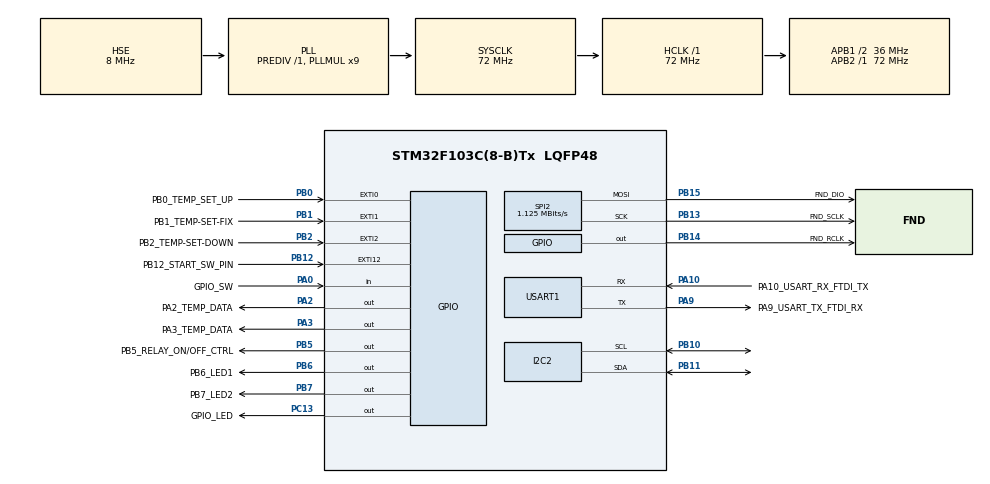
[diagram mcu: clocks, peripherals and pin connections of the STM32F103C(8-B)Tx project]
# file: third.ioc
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I2C2.I2C_Mode=I2C_Fast
Mcu.Family=STM32F1
Mcu.Name=STM32F103C(8-B)Tx
Mcu.Package=LQFP48
NVIC.EXTI0_IRQn=true\:9\:0\:true\:false\:true\:true\:true\:true
NVIC.EXTI15_10_IRQn=true\:9\:0\:true\:false\:true\:true\:true\:true
NVIC.EXTI1_IRQn=true\:9\:0\:true\:false\:true\:true\:true\:true
NVIC.EXTI2_IRQn=true\:9\:0\:true\:false\:true\:true\:true\:true
NVIC.PriorityGroup=NVIC_PRIORITYGROUP_4
NVIC.TIM2_IRQn=true\:0\:0\:false\:false\:true\:true\:true\:true
NVIC.TIM3_IRQn=true\:10\:0\:true\:false\:true\:true\:true\:true
PA0-WKUP.GPIO_Label=GPIO_SW
PA0-WKUP.GPIO_PuPd=GPIO_PULLUP
PA0-WKUP.Signal=GPIO_Input
PA10.GPIO_Label=PA10_USART_RX_FTDI_TX
PA10.Mode=Asynchronous
PA10.Signal=USART1_RX
PA13.Mode=Serial_Wire
PA13.Signal=SYS_JTMS-SWDIO
PA14.Mode=Serial_Wire
PA14.Signal=SYS_JTCK-SWCLK
PA2.GPIO_Label=PA2_TEMP_DATA
PA2.GPIO_ModeDefaultOutputPP=GPIO_MODE_OUTPUT_PP
PA2.GPIO_PuPd=GPIO_PULLUP
PA2.GPIO_Speed=GPIO_SPEED_FREQ_HIGH
PA2.PinState=GPIO_PIN_SET
PA2.Signal=GPIO_Output
PA3.GPIO_Label=PA3_TEMP_DATA
PA3.GPIO_PuPd=GPIO_PULLUP
PA3.GPIO_Speed=GPIO_SPEED_FREQ_HIGH
PA3.PinState=GPIO_PIN_SET
PA3.Signal=GPIO_Output
PA9.GPIO_Label=PA9_USART_TX_FTDI_RX
PA9.Mode=Asynchronous
PA9.Signal=USART1_TX
PB0.GPIO_Label=PB0_TEMP_SET_UP
PB0.GPIO_ModeDefaultEXTI=GPIO_MODE_IT_FALLING
PB0.Signal=GPXTI0
PB1.GPIO_Label=PB1_TEMP-SET-FIX
PB1.GPIO_ModeDefaultEXTI=GPIO_MODE_IT_FALLING
PB1.GPIO_PuPd=GPIO_PULLUP
PB1.Signal=GPXTI1
PB10.Mode=I2C
PB10.Signal=I2C2_SCL
PB11.Mode=I2C
PB11.Signal=I2C2_SDA
PB12.GPIO_Label=PB12_START_SW_PIN
PB12.GPIO_ModeDefaultEXTI=GPIO_MODE_IT_FALLING
PB12.GPIO_PuPd=GPIO_PULLUP
PB12.Signal=GPXTI12
PB13.GPIO_Label=FND_SCLK
PB13.Mode=TX_Only_Simplex_Unidirect_Master
PB13.Signal=SPI2_SCK
PB14.GPIO_Label=FND_RCLK
PB14.GPIO_PuPd=GPIO_PULLUP
PB14.GPIO_Speed=GPIO_SPEED_FREQ_HIGH
PB14.PinState=GPIO_PIN_SET
PB14.Signal=GPIO_Output
PB15.GPIO_Label=FND_DIO
PB15.Mode=TX_Only_Simplex_Unidirect_Master
PB15.Signal=SPI2_MOSI
PB2.GPIO_Label=PB2_TEMP-SET-DOWN
PB2.GPIO_ModeDefaultEXTI=GPIO_MODE_IT_FALLING
PB2.GPIO_PuPd=GPIO_PULLUP
PB2.Signal=GPXTI2
PB5.GPIO_Label=PB5_RELAY_ON/OFF_CTRL
PB5.GPIO_PuPd=GPIO_PULLDOWN
PB5.GPIO_Speed=GPIO_SPEED_FREQ_HIGH
PB5.PinState=GPIO_PIN_RESET
PB5.Signal=GPIO_Output
PB6.GPIO_Label=PB6_LED1
PB6.GPIO_PuPd=GPIO_PULLUP
PB6.GPIO_Speed=GPIO_SPEED_FREQ_HIGH
PB6.PinState=GPIO_PIN_SET
PB6.Signal=GPIO_Output
PB7.GPIO_Label=PB7_LED2
PB7.GPIO_ModeDefaultOutputPP=GPIO_MODE_OUTPUT_PP
PB7.GPIO_PuPd=GPIO_PULLUP
PB7.GPIO_Speed=GPIO_SPEED_FREQ_HIGH
PB7.PinState=GPIO_PIN_SET
PB7.Signal=GPIO_Output
PC13-TAMPER-RTC.GPIO_Label=GPIO_LED
PC13-TAMPER-RTC.GPIO_PuPd=GPIO_PULLDOWN
PC13-TAMPER-RTC.GPIO_Speed=GPIO_SPEED_FREQ_HIGH
PC13-TAMPER-RTC.PinState=GPIO_PIN_SET
PC13-TAMPER-RTC.Signal=GPIO_Output
PC14-OSC32_IN.Mode=LSE-External-Oscillator
PC14-OSC32_IN.Signal=RCC_OSC32_IN
PC15-OSC32_OUT.Mode=LSE-External-Oscillator
PC15-OSC32_OUT.Signal=RCC_OSC32_OUT
PD0-OSC_IN.Mode=HSE-External-Oscillator
PD0-OSC_IN.Signal=RCC_OSC_IN
PD1-OSC_OUT.Mode=HSE-External-Oscillator
PD1-OSC_OUT.Signal=RCC_OSC_OUT
ProjectManager.HeapSize=0x200
ProjectManager.StackSize=0x400
ProjectManager.TargetToolchain=STM32CubeIDE
RCC.AHBFreq_Value=72000000
RCC.APB1CLKDivider=RCC_HCLK_DIV2
RCC.APB1Freq_Value=36000000
RCC.APB1TimFreq_Value=72000000
RCC.APB2Freq_Value=72000000
RCC.APB2TimFreq_Value=72000000
RCC.HCLKFreq_Value=72000000
RCC.PLLMUL=RCC_PLL_MUL9
RCC.PLLSourceVirtual=RCC_PLLSOURCE_HSE
RCC.SYSCLKFreq_VALUE=72000000
RCC.SYSCLKSource=RCC_SYSCLKSOURCE_PLLCLK
RCC.USBFreq_Value=72000000
SPI2.BaudRatePrescaler=SPI_BAUDRATEPRESCALER_32
SPI2.CLKPolarity=SPI_POLARITY_HIGH
SPI2.CalculateBaudRate=1.125 MBits/s
SPI2.Direction=SPI_DIRECTION_2LINES
SPI2.Mode=SPI_MODE_MASTER
SPI2.VirtualType=VM_MASTER
TIM2.AutoReloadPreload=TIM_AUTORELOAD_PRELOAD_DISABLE
TIM2.Period=0xFFFF
TIM2.Prescaler=(72-1)
TIM3.Period=49
TIM3.Prescaler=71
USART1.VirtualMode=VM_ASYNC
VP_TIM2_VS_ClockSourceINT.Mode=Internal
VP_TIM3_VS_ClockSourceINT.Mode=Internal
board=custom

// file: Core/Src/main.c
/* USER CODE BEGIN Header */
/**
 ******************************************************************************
 * @file           : main.c
 * @brief          : Main program body
 ******************************************************************************
 * @attention
 *
 * Copyright (c) 2023 STMicroelectronics.
 * All rights reserved.
 *
 * This software is licensed under terms that can be found in the LICENSE file
 * in the root directory of this software component.
 * If no LICENSE file comes with this software, it is provided AS-IS.
 *
 ******************************************************************************
 */
/* USER CODE END Header */
#include "main.h"

/* USER CODE BEGIN Includes */
#include <stdio.h>
#include "fnd_controller.h"
#include "ds18b20.h"
#include "heaterController.h"
#include "fonts.h"
#include "ssd1306.h"
#include "test.h"
#include "bitmap.h"
#include "horse_anim.h"
#include "utils.h"
#include "oledController.h"
/* USER CODE END Includes */

I2C_HandleTypeDef hi2c2;

SPI_HandleTypeDef hspi2;

TIM_HandleTypeDef htim2;
TIM_HandleTypeDef htim3;

UART_HandleTypeDef huart1;

void SystemClock_Config(void);
static void MX_GPIO_Init(void);
static void MX_TIM2_Init(void);
static void MX_TIM3_Init(void);
static void MX_I2C2_Init(void);
static void MX_USART1_UART_Init(void);
static void MX_SPI2_Init(void);

ON_OFF_t getSwState() {
		if (HAL_GPIO_ReadPin(PB12_START_SW_PIN_GPIO_Port,PB12_START_SW_PIN_Pin)) {
			return OFF_t;
		} else {
			return ON_t;
		}
	};

int main(void) {
	/* USER CODE BEGIN 1 */
	float temper = 0.0;
	/* USER CODE END 1 */

	/* MCU Configuration--------------------------------------------------------*/

	/* Reset of all peripherals, Initializes the Flash interface and the Systick. */
	HAL_Init();

	/* Configure the system clock */
	SystemClock_Config();

	/* Initialize all configured peripherals */
	MX_GPIO_Init();
	MX_TIM2_Init();
	MX_TIM3_Init();
	MX_I2C2_Init();
	MX_USART1_UART_Init();
	MX_SPI2_Init();
	/* USER CODE BEGIN 2 */

	HAL_TIM_Base_Start_IT(&htim3);
	init_fnd(&hspi2);
	//Ds18b20_Init();
	DS18b20_Init_Simple();
	SSD1306_Init();
	opening();
	initHeater();

	/* USER CODE END 2 */

	/* Infinite loop */
	/* USER CODE BEGIN WHILE */

	static int m_count = 0;
	static int m_first = 0;

	while (1) {

		if ((m_count > 100) || !m_first) {
			if (!isConverting()) {
				StartConverting();
			}

			checkConverting();

			if (!isConverting()) {
				temper = getTemper();
				if (getSwState() == ON_t) {
					heaterControl(temper);
				} else {
					if (getHeaterState() == ON_t) {
						heaterOnOff(OFF_t);
					}
				}
				m_count = 0;
				m_first = 1;
			}
		}

		m_count++;
		HAL_Delay(10);
	}
	/* USER CODE END WHILE */

}

void SystemClock_Config(void) {
	RCC_OscInitTypeDef RCC_OscInitStruct = { 0 };
	RCC_ClkInitTypeDef RCC_ClkInitStruct = { 0 };

	/** Initializes the RCC Oscillators according to the specified parameters
	 * in the RCC_OscInitTypeDef structure.
	 */
	RCC_OscInitStruct.OscillatorType = RCC_OSCILLATORTYPE_HSE;
	RCC_OscInitStruct.HSEState = RCC_HSE_ON;
	RCC_OscInitStruct.HSEPredivValue = RCC_HSE_PREDIV_DIV1;
	RCC_OscInitStruct.HSIState = RCC_HSI_ON;
	RCC_OscInitStruct.PLL.PLLState = RCC_PLL_ON;
	RCC_OscInitStruct.PLL.PLLSource = RCC_PLLSOURCE_HSE;
	RCC_OscInitStruct.PLL.PLLMUL = RCC_PLL_MUL9;
	if (HAL_RCC_OscConfig(&RCC_OscInitStruct) != HAL_OK) {
		Error_Handler();
	}

	/** Initializes the CPU, AHB and APB buses clocks
	 */
	RCC_ClkInitStruct.ClockType = RCC_CLOCKTYPE_HCLK | RCC_CLOCKTYPE_SYSCLK
			| RCC_CLOCKTYPE_PCLK1 | RCC_CLOCKTYPE_PCLK2;
	RCC_ClkInitStruct.SYSCLKSource = RCC_SYSCLKSOURCE_PLLCLK;
	RCC_ClkInitStruct.AHBCLKDivider = RCC_SYSCLK_DIV1;
	RCC_ClkInitStruct.APB1CLKDivider = RCC_HCLK_DIV2;
	RCC_ClkInitStruct.APB2CLKDivider = RCC_HCLK_DIV1;

	if (HAL_RCC_ClockConfig(&RCC_ClkInitStruct, FLASH_LATENCY_2) != HAL_OK) {
		Error_Handler();
	}
}

static void MX_I2C2_Init(void) {

	hi2c2.Instance = I2C2;
	hi2c2.Init.ClockSpeed = 400000;
	hi2c2.Init.DutyCycle = I2C_DUTYCYCLE_2;
	hi2c2.Init.OwnAddress1 = 0;
	hi2c2.Init.AddressingMode = I2C_ADDRESSINGMODE_7BIT;
	hi2c2.Init.DualAddressMode = I2C_DUALADDRESS_DISABLE;
	hi2c2.Init.OwnAddress2 = 0;
	hi2c2.Init.GeneralCallMode = I2C_GENERALCALL_DISABLE;
	hi2c2.Init.NoStretchMode = I2C_NOSTRETCH_DISABLE;
	if (HAL_I2C_Init(&hi2c2) != HAL_OK) {
		Error_Handler();
	}

}

static void MX_SPI2_Init(void) {

	/* SPI2 parameter configuration*/
	hspi2.Instance = SPI2;
	hspi2.Init.Mode = SPI_MODE_MASTER;
	hspi2.Init.Direction = SPI_DIRECTION_2LINES;
	hspi2.Init.DataSize = SPI_DATASIZE_8BIT;
	hspi2.Init.CLKPolarity = SPI_POLARITY_HIGH;
	hspi2.Init.CLKPhase = SPI_PHASE_1EDGE;
	hspi2.Init.NSS = SPI_NSS_SOFT;
	hspi2.Init.BaudRatePrescaler = SPI_BAUDRATEPRESCALER_32;
	hspi2.Init.FirstBit = SPI_FIRSTBIT_MSB;
	hspi2.Init.TIMode = SPI_TIMODE_DISABLE;
	hspi2.Init.CRCCalculation = SPI_CRCCALCULATION_DISABLE;
	hspi2.Init.CRCPolynomial = 10;
	if (HAL_SPI_Init(&hspi2) != HAL_OK) {
		Error_Handler();
	}

}

static void MX_TIM2_Init(void) {

	TIM_ClockConfigTypeDef sClockSourceConfig = { 0 };
	TIM_MasterConfigTypeDef sMasterConfig = { 0 };

	htim2.Instance = TIM2;
	htim2.Init.Prescaler = (72 - 1);
	htim2.Init.CounterMode = TIM_COUNTERMODE_UP;
	htim2.Init.Period = 0xFFFF;
	htim2.Init.ClockDivision = TIM_CLOCKDIVISION_DIV1;
	htim2.Init.AutoReloadPreload = TIM_AUTORELOAD_PRELOAD_DISABLE;
	if (HAL_TIM_Base_Init(&htim2) != HAL_OK) {
		Error_Handler();
	}
	sClockSourceConfig.ClockSource = TIM_CLOCKSOURCE_INTERNAL;
	if (HAL_TIM_ConfigClockSource(&htim2, &sClockSourceConfig) != HAL_OK) {
		Error_Handler();
	}
	sMasterConfig.MasterOutputTrigger = TIM_TRGO_RESET;
	sMasterConfig.MasterSlaveMode = TIM_MASTERSLAVEMODE_DISABLE;
	if (HAL_TIMEx_MasterConfigSynchronization(&htim2, &sMasterConfig)
			!= HAL_OK) {
		Error_Handler();
	}

}

static void MX_TIM3_Init(void) {

	TIM_ClockConfigTypeDef sClockSourceConfig = { 0 };
	TIM_MasterConfigTypeDef sMasterConfig = { 0 };

	htim3.Instance = TIM3;
	htim3.Init.Prescaler = 71;
	htim3.Init.CounterMode = TIM_COUNTERMODE_UP;
	htim3.Init.Period = 49;
	htim3.Init.ClockDivision = TIM_CLOCKDIVISION_DIV1;
	htim3.Init.AutoReloadPreload = TIM_AUTORELOAD_PRELOAD_DISABLE;
	if (HAL_TIM_Base_Init(&htim3) != HAL_OK) {
		Error_Handler();
	}
	sClockSourceConfig.ClockSource = TIM_CLOCKSOURCE_INTERNAL;
	if (HAL_TIM_ConfigClockSource(&htim3, &sClockSourceConfig) != HAL_OK) {
		Error_Handler();
	}
	sMasterConfig.MasterOutputTrigger = TIM_TRGO_RESET;
	sMasterConfig.MasterSlaveMode = TIM_MASTERSLAVEMODE_DISABLE;
	if (HAL_TIMEx_MasterConfigSynchronization(&htim3, &sMasterConfig)
			!= HAL_OK) {
		Error_Handler();
	}

}

static void MX_USART1_UART_Init(void) {

	huart1.Instance = USART1;
	huart1.Init.BaudRate = 115200;
	huart1.Init.WordLength = UART_WORDLENGTH_8B;
	huart1.Init.StopBits = UART_STOPBITS_1;
	huart1.Init.Parity = UART_PARITY_NONE;
	huart1.Init.Mode = UART_MODE_TX_RX;
	huart1.Init.HwFlowCtl = UART_HWCONTROL_NONE;
	huart1.Init.OverSampling = UART_OVERSAMPLING_16;
	if (HAL_UART_Init(&huart1) != HAL_OK) {
		Error_Handler();
	}

}

static void MX_GPIO_Init(void) {
	GPIO_InitTypeDef GPIO_InitStruct = { 0 };

	/* GPIO Ports Clock Enable */
	__HAL_RCC_GPIOC_CLK_ENABLE();
	__HAL_RCC_GPIOD_CLK_ENABLE();
	__HAL_RCC_GPIOA_CLK_ENABLE();
	__HAL_RCC_GPIOB_CLK_ENABLE();

	/*Configure GPIO pin Output Level */
	HAL_GPIO_WritePin(GPIO_LED_GPIO_Port, GPIO_LED_Pin, GPIO_PIN_SET);

	/*Configure GPIO pin Output Level */
	HAL_GPIO_WritePin(GPIOA, PA2_TEMP_DATA_Pin | PA3_TEMP_DATA_Pin,
			GPIO_PIN_SET);

	/*Configure GPIO pin Output Level */
	HAL_GPIO_WritePin(GPIOB, FND_RCLK_Pin | PB6_LED1_Pin | PB7_LED2_Pin,
			GPIO_PIN_SET);

	/*Configure GPIO pin Output Level */
	HAL_GPIO_WritePin(PB5_RELAY_ON_OFF_CTRL_GPIO_Port,
			PB5_RELAY_ON_OFF_CTRL_Pin, GPIO_PIN_RESET);

	/*Configure GPIO pin : GPIO_LED_Pin */
	GPIO_InitStruct.Pin = GPIO_LED_Pin;
	GPIO_InitStruct.Mode = GPIO_MODE_OUTPUT_PP;
	GPIO_InitStruct.Pull = GPIO_PULLDOWN;
	GPIO_InitStruct.Speed = GPIO_SPEED_FREQ_HIGH;
	HAL_GPIO_Init(GPIO_LED_GPIO_Port, &GPIO_InitStruct);

	/*Configure GPIO pin : GPIO_SW_Pin */
	GPIO_InitStruct.Pin = GPIO_SW_Pin;
	GPIO_InitStruct.Mode = GPIO_MODE_INPUT;
	GPIO_InitStruct.Pull = GPIO_PULLUP;
	HAL_GPIO_Init(GPIO_SW_GPIO_Port, &GPIO_InitStruct);

	/*Configure GPIO pins : PA2_TEMP_DATA_Pin PA3_TEMP_DATA_Pin */
	GPIO_InitStruct.Pin = PA2_TEMP_DATA_Pin | PA3_TEMP_DATA_Pin;
	GPIO_InitStruct.Mode = GPIO_MODE_OUTPUT_PP;
	GPIO_InitStruct.Pull = GPIO_PULLUP;
	GPIO_InitStruct.Speed = GPIO_SPEED_FREQ_HIGH;
	HAL_GPIO_Init(GPIOA, &GPIO_InitStruct);

	/*Configure GPIO pin : PB0_TEMP_SET_UP_Pin */
	GPIO_InitStruct.Pin = PB0_TEMP_SET_UP_Pin;
	GPIO_InitStruct.Mode = GPIO_MODE_IT_FALLING;
	GPIO_InitStruct.Pull = GPIO_NOPULL;
	HAL_GPIO_Init(PB0_TEMP_SET_UP_GPIO_Port, &GPIO_InitStruct);

	/*Configure GPIO pins : PB1_TEMP_SET_FIX_Pin PB2_TEMP_SET_DOWN_Pin PB12_START_SW_PIN_Pin */
	GPIO_InitStruct.Pin = PB1_TEMP_SET_FIX_Pin | PB2_TEMP_SET_DOWN_Pin
			| PB12_START_SW_PIN_Pin;
	GPIO_InitStruct.Mode = GPIO_MODE_IT_FALLING;
	GPIO_InitStruct.Pull = GPIO_PULLUP;
	HAL_GPIO_Init(GPIOB, &GPIO_InitStruct);

	/*Configure GPIO pins : FND_RCLK_Pin PB6_LED1_Pin PB7_LED2_Pin */
	GPIO_InitStruct.Pin = FND_RCLK_Pin | PB6_LED1_Pin | PB7_LED2_Pin;
	GPIO_InitStruct.Mode = GPIO_MODE_OUTPUT_PP;
	GPIO_InitStruct.Pull = GPIO_PULLUP;
	GPIO_InitStruct.Speed = GPIO_SPEED_FREQ_HIGH;
	HAL_GPIO_Init(GPIOB, &GPIO_InitStruct);

	/*Configure GPIO pin : PB5_RELAY_ON_OFF_CTRL_Pin */
	GPIO_InitStruct.Pin = PB5_RELAY_ON_OFF_CTRL_Pin;
	GPIO_InitStruct.Mode = GPIO_MODE_OUTPUT_PP;
	GPIO_InitStruct.Pull = GPIO_PULLDOWN;
	GPIO_InitStruct.Speed = GPIO_SPEED_FREQ_HIGH;
	HAL_GPIO_Init(PB5_RELAY_ON_OFF_CTRL_GPIO_Port, &GPIO_InitStruct);

	/* EXTI interrupt init*/
	HAL_NVIC_SetPriority(EXTI0_IRQn, 9, 0);
	HAL_NVIC_EnableIRQ(EXTI0_IRQn);

	HAL_NVIC_SetPriority(EXTI1_IRQn, 9, 0);
	HAL_NVIC_EnableIRQ(EXTI1_IRQn);

	HAL_NVIC_SetPriority(EXTI2_IRQn, 9, 0);
	HAL_NVIC_EnableIRQ(EXTI2_IRQn);

	HAL_NVIC_SetPriority(EXTI15_10_IRQn, 9, 0);
	HAL_NVIC_EnableIRQ(EXTI15_10_IRQn);

}

void Error_Handler(void) {
	__disable_irq();
	while (1) {
	}
}
